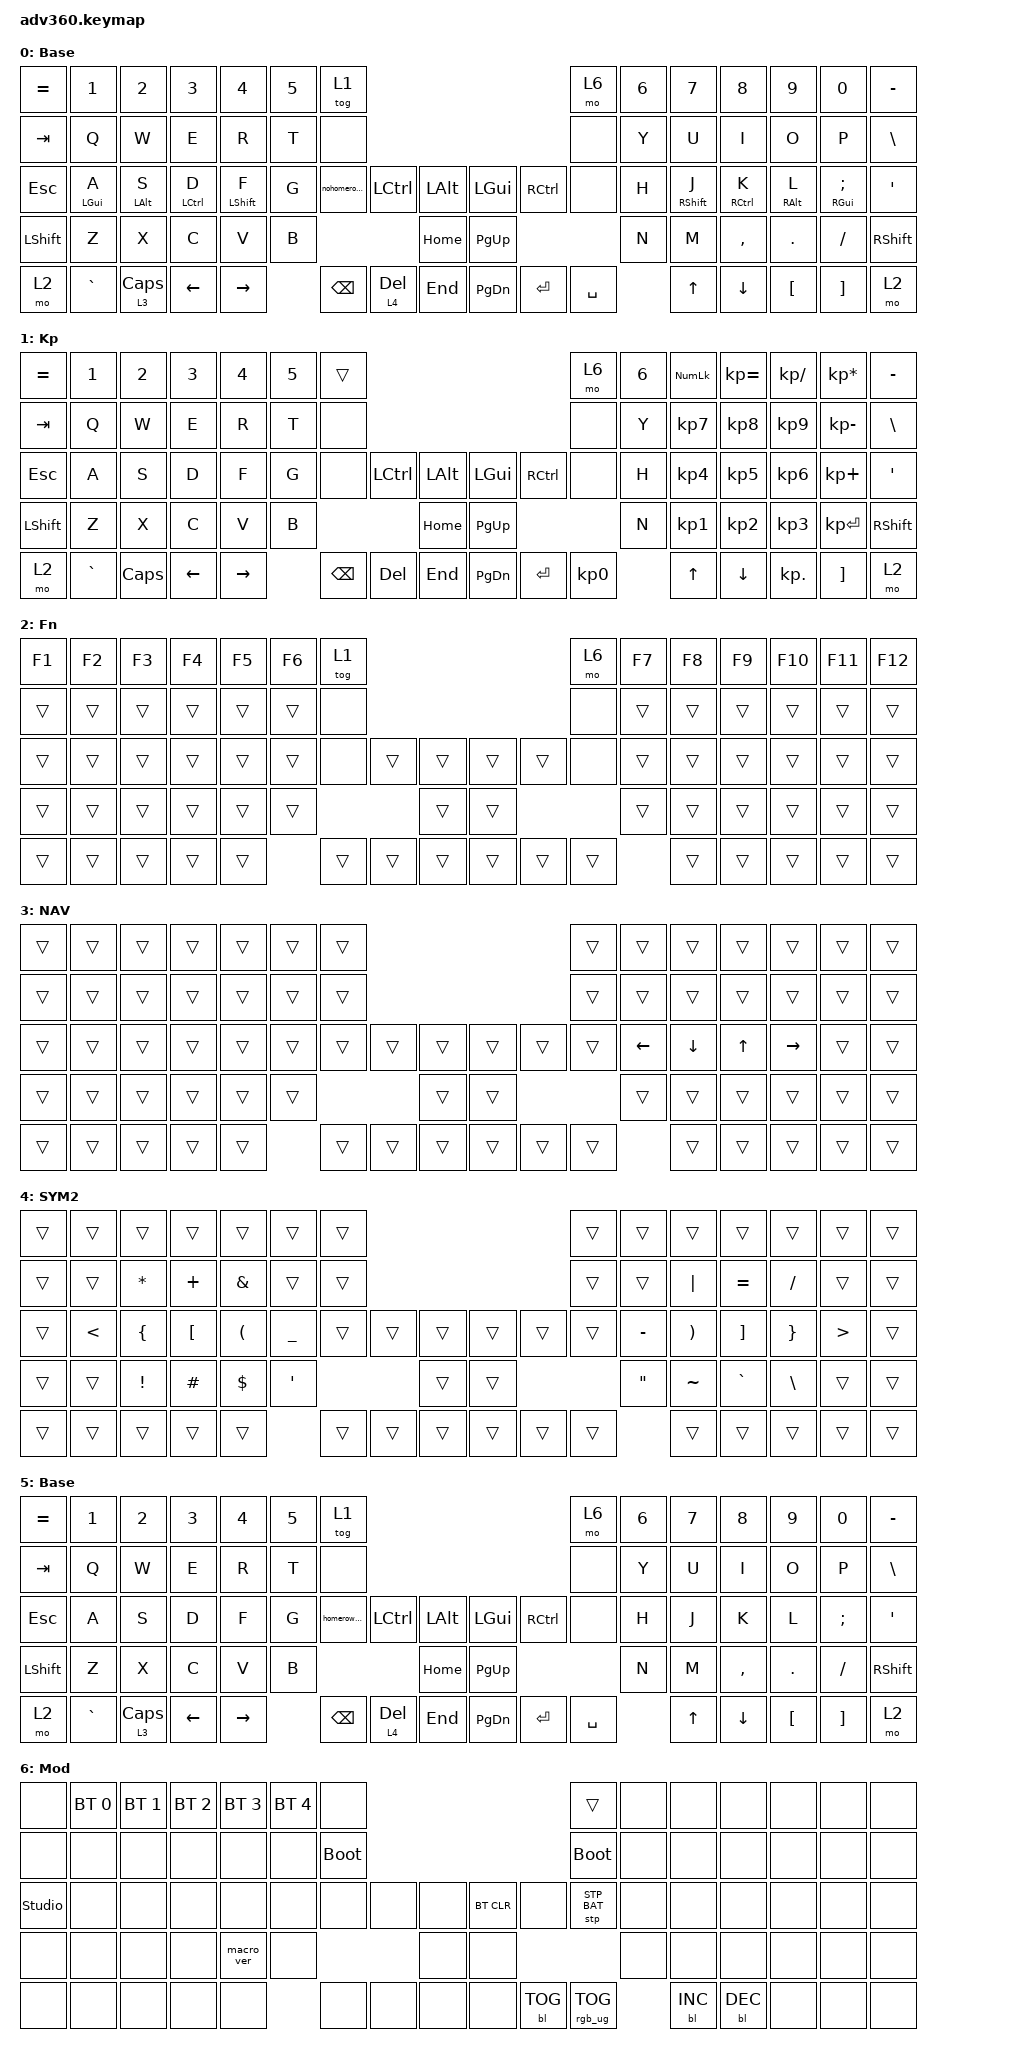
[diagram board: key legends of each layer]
#include <dt-bindings/zmk/stp.h>
#include <behaviors.dtsi>
#include <dt-bindings/zmk/backlight.h>
#include <dt-bindings/zmk/bt.h>
#include <dt-bindings/zmk/keys.h>
#include <dt-bindings/zmk/rgb.h>

/ {
    behaviors {
        #include "macros.dtsi"
      #include "version.dtsi"

        hm: homerow_mods {
            compatible = "zmk,behavior-hold-tap";
            label = "HOMEROW_MODS";
            #binding-cells = <2>;
            flavor = "tap-preferred";
            tapping-term-ms = <300>;
            quick-tap-ms = <0>;
            require-prior-idle-ms = <225>;
            bindings = <&kp>, <&kp>;

            hold-trigger-key-positions = <7 8 9 10 11 12 13 21 22 23 24 25 26 27 39 40 41 42 43 44 45 55 56 57 58 59 70 71 72 73 74 75>;
        };

        hm_r: homerow_mods_right {
            compatible = "zmk,behavior-hold-tap";
            label = "HOMEROW_MODS_RIGHT";
            #binding-cells = <2>;
            flavor = "tap-preferred";
            tapping-term-ms = <300>;
            quick-tap-ms = <0>;
            require-prior-idle-ms = <225>;
            bindings = <&kp>, <&kp>;

            hold-trigger-key-positions = <0 1 2 3 4 5 6 14 15 16 17 18 19 20 28 29 30 31 32 33 34 35 36 37 38 46 47 48 49 50 51 52 53 54 60 61 62 63 64 65 66 67 68 69>;
        };
    };

    combos {
        compatible = "zmk,combos";

        escape {
            bindings = <&kp ESCAPE>;
            key-positions = <32 41>;
            layers = <0 5>;
        };
    };

    macros {
        nohomerowtoggle: nohomerowtoggle {
            compatible = "zmk,behavior-macro";
            #binding-cells = <0>;
            bindings = <&to 5 &bl BL_ON>;
            label = "NOHOMEROWTOGGLE";
        };

        homerowmods: homerowmods {
            compatible = "zmk,behavior-macro";
            #binding-cells = <0>;
            bindings = <&to 0 &bl BL_OFF>;
            label = "HOMEROWMODS";
        };
    };

    keymap {
        compatible = "zmk,keymap";

        default_layer {
            display-name = "Base";
            bindings = <
&kp EQUAL  &kp N1          &kp N2          &kp N3              &kp N4            &kp N5  &tog 1                                                              &mo 6      &kp N6  &kp N7               &kp N8                 &kp N9             &kp N0                &kp MINUS
&kp TAB    &kp Q           &kp W           &kp E               &kp R             &kp T   &none                                                               &none      &kp Y   &kp U                &kp I                  &kp O              &kp P                 &kp BSLH
&kp ESC    &hm LEFT_GUI A  &hm LEFT_ALT S  &hm LEFT_CONTROL D  &hm LEFT_SHIFT F  &kp G   &nohomerowtoggle  &kp LCTRL     &kp LALT      &kp LGUI   &kp RCTRL  &none      &kp H   &hm_r RIGHT_SHIFT J  &hm_r RIGHT_CONTROL K  &hm_r RIGHT_ALT L  &hm_r RIGHT_GUI SEMI  &kp SQT
&kp LSHFT  &kp Z           &kp X           &kp C               &kp V             &kp B                                   &kp HOME      &kp PG_UP                        &kp N   &kp M                &kp COMMA              &kp DOT            &kp FSLH              &kp RSHFT
&mo 2      &kp GRAVE       &lt 3 CLCK      &kp LEFT            &kp RIGHT                 &kp BACKSPACE     &lt 4 DELETE  &kp END       &kp PG_DN  &kp ENTER  &kp SPACE          &kp UP               &kp DOWN               &kp LBKT           &kp RBKT              &mo 2
            >;
        };

        keypad {
            display-name = "Kp";
            bindings = <
&kp EQUAL  &kp N1     &kp N2    &kp N3    &kp N4     &kp N5  &trans                                                   &mo 6      &kp N6  &kp KP_NUM  &kp KP_EQUAL  &kp KP_DIVIDE  &kp KP_MULTIPLY  &kp MINUS
&kp TAB    &kp Q      &kp W     &kp E     &kp R      &kp T   &none                                                    &none      &kp Y   &kp KP_N7   &kp KP_N8     &kp KP_N9      &kp KP_MINUS     &kp BSLH
&kp ESC    &kp A      &kp S     &kp D     &kp F      &kp G   &none     &kp LCTRL  &kp LALT      &kp LGUI   &kp RCTRL  &none      &kp H   &kp KP_N4   &kp KP_N5     &kp KP_N6      &kp KP_PLUS      &kp SQT
&kp LSHFT  &kp Z      &kp X     &kp C     &kp V      &kp B                        &kp HOME      &kp PG_UP                        &kp N   &kp KP_N1   &kp KP_N2     &kp KP_N3      &kp KP_ENTER     &kp RSHFT
&mo 2      &kp GRAVE  &kp CAPS  &kp LEFT  &kp RIGHT          &kp BSPC  &kp DEL    &kp END       &kp PG_DN  &kp ENTER  &kp KP_N0          &kp UP      &kp DOWN      &kp KP_DOT     &kp RBKT         &mo 2
            >;
        };

        fn {
            display-name = "Fn";
            bindings = <
&kp F1  &kp F2  &kp F3  &kp F4  &kp F5  &kp F6  &tog 1                                      &mo 6   &kp F7  &kp F8  &kp F9  &kp F10  &kp F11  &kp F12
&trans  &trans  &trans  &trans  &trans  &trans  &none                                       &none   &trans  &trans  &trans  &trans   &trans   &trans
&trans  &trans  &trans  &trans  &trans  &trans  &none   &trans  &trans      &trans  &trans  &none   &trans  &trans  &trans  &trans   &trans   &trans
&trans  &trans  &trans  &trans  &trans  &trans                  &trans      &trans                  &trans  &trans  &trans  &trans   &trans   &trans
&trans  &trans  &trans  &trans  &trans          &trans  &trans  &trans      &trans  &trans  &trans          &trans  &trans  &trans   &trans   &trans
            >;
        };

        NAV {
            bindings = <
&trans  &trans  &trans  &trans  &trans  &trans  &trans                                      &trans  &trans    &trans    &trans  &trans     &trans  &trans
&trans  &trans  &trans  &trans  &trans  &trans  &trans                                      &trans  &trans    &trans    &trans  &trans     &trans  &trans
&trans  &trans  &trans  &trans  &trans  &trans  &trans  &trans  &trans      &trans  &trans  &trans  &kp LEFT  &kp DOWN  &kp UP  &kp RIGHT  &trans  &trans
&trans  &trans  &trans  &trans  &trans  &trans                  &trans      &trans                  &trans    &trans    &trans  &trans     &trans  &trans
&trans  &trans  &trans  &trans  &trans          &trans  &trans  &trans      &trans  &trans  &trans            &trans    &trans  &trans     &trans  &trans
            >;
        };

        SYM2 {
            bindings = <
&trans  &trans         &trans           &trans            &trans                &trans          &trans                                      &trans  &trans             &trans                 &trans             &trans           &trans            &trans
&trans  &trans         &kp ASTERISK     &kp PLUS          &kp AMPERSAND         &trans          &trans                                      &trans  &trans             &kp PIPE               &kp EQUAL          &kp SLASH        &trans            &trans
&trans  &kp LESS_THAN  &kp LEFT_BRACE   &kp LEFT_BRACKET  &kp LEFT_PARENTHESIS  &kp UNDERSCORE  &trans  &trans  &trans      &trans  &trans  &trans  &kp MINUS          &kp RIGHT_PARENTHESIS  &kp RIGHT_BRACKET  &kp RIGHT_BRACE  &kp GREATER_THAN  &trans
&trans  &trans         &kp EXCLAMATION  &kp HASH          &kp DOLLAR            &kp SQT                         &trans      &trans                  &kp DOUBLE_QUOTES  &kp TILDE              &kp GRAVE          &kp BACKSLASH    &trans            &trans
&trans  &trans         &trans           &trans            &trans                                &trans  &trans  &trans      &trans  &trans  &trans                     &trans                 &trans             &trans           &trans            &trans
            >;
        };

        nohomerowmods {
            display-name = "Base";
            bindings = <
&kp EQUAL  &kp N1     &kp N2      &kp N3    &kp N4     &kp N5  &tog 1                                                           &mo 6      &kp N6  &kp N7  &kp N8     &kp N9    &kp N0         &kp MINUS
&kp TAB    &kp Q      &kp W       &kp E     &kp R      &kp T   &none                                                            &none      &kp Y   &kp U   &kp I      &kp O     &kp P          &kp BSLH
&kp ESC    &kp A      &kp S       &kp D     &kp F      &kp G   &homerowmods   &kp LCTRL     &kp LALT      &kp LGUI   &kp RCTRL  &none      &kp H   &kp J   &kp K      &kp L     &kp SEMICOLON  &kp SQT
&kp LSHFT  &kp Z      &kp X       &kp C     &kp V      &kp B                                &kp HOME      &kp PG_UP                        &kp N   &kp M   &kp COMMA  &kp DOT   &kp FSLH       &kp RSHFT
&mo 2      &kp GRAVE  &lt 3 CLCK  &kp LEFT  &kp RIGHT          &kp BACKSPACE  &lt 4 DELETE  &kp END       &kp PG_DN  &kp ENTER  &kp SPACE          &kp UP  &kp DOWN   &kp LBKT  &kp RBKT       &mo 2
            >;
        };

        mod {
            display-name = "Mod";
            bindings = <
&none           &bt BT_SEL 0  &bt BT_SEL 1  &bt BT_SEL 2  &bt BT_SEL 3  &bt BT_SEL 4  &none                                                  &trans           &none  &none       &none       &none  &none  &none
&none           &none         &none         &none         &none         &none         &bootloader                                            &bootloader      &none  &none       &none       &none  &none  &none
&studio_unlock  &none         &none         &none         &none         &none         &none        &none  &none      &bt BT_CLR  &none       &stp STP_BAT     &none  &none       &none       &none  &none  &none
&none           &none         &none         &none         &macro_ver    &none                             &none      &none                                    &none  &none       &none       &none  &none  &none
&none           &none         &none         &none         &none                       &none        &none  &none      &none       &bl BL_TOG  &rgb_ug RGB_TOG         &bl BL_INC  &bl BL_DEC  &none  &none  &none
            >;
        };

        extra1 {
            display-name = "Red";
            status = "reserved";
        };

        extra2 {
            display-name = "Purple";
            status = "reserved";
        };

        extra3 {
            display-name = "Cyan";
            status = "reserved";
        };

        extra4 {
            display-name = "Yellow";
            status = "reserved";
        };
    };
};
